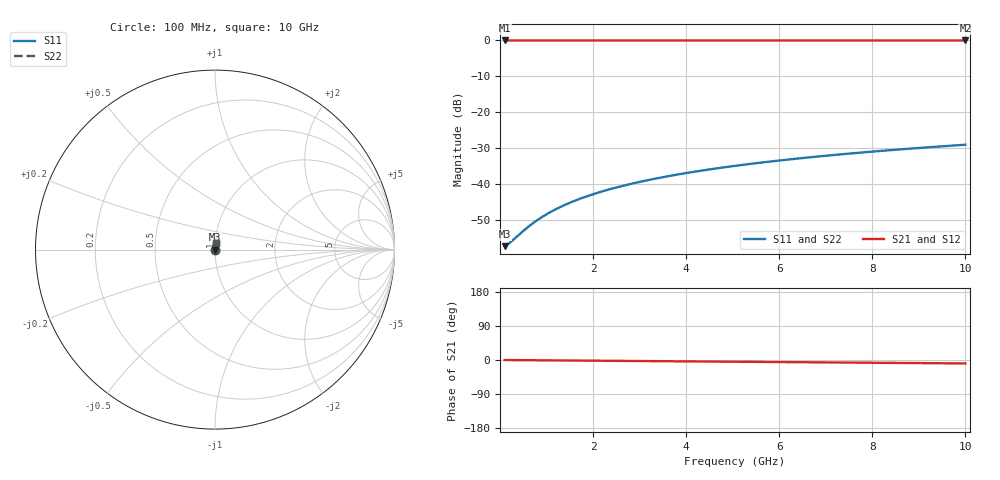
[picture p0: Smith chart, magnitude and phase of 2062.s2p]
# Hz S RI R 50.00
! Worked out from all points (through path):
!   100 points, 100 MHz to 10 GHz, reference 50 ohm
!   highest |S21| = -0.01 dB at 100 MHz (marker M1); lowest = 0.0 dB at 10 GHz (marker M2)
!   group delay of S21, straight-line fit = 2.51 ps
!   lowest |S11| = -57.3 dB at 100 MHz (marker M3), VSWR 1.00, Z = 50.1 + j0.0354 ohm
!   |S11| at or under -10 dB: start of sweep to end of sweep
!   |S22| runs from -57.3 to -29.0 dB; largest |S21 - S12| = 0
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1e8  0.00132 0.000353  0.9987 -0.00157  0.9987 -0.00157  0.00132 0.000353
2e8  0.00133 0.000706  0.9987 -0.00315  0.9987 -0.00315  0.00133 0.000706
6e8  0.00137 0.00212  0.9986 -0.00944  0.9986 -0.00944  0.00137 0.00212
7e8  0.00138 0.00247  0.9986 -0.011  0.9986 -0.011  0.00138 0.00247
9e8  0.0014 0.00317  0.9985 -0.0142  0.9985 -0.0142  0.0014 0.00317
1.1e9  0.00143 0.00388  0.9985 -0.0173  0.9985 -0.0173  0.00143 0.00388
1.3e9  0.00146 0.00458  0.9984 -0.0205  0.9984 -0.0205  0.00146 0.00458
1.5e9  0.00149 0.00529  0.9983 -0.0236  0.9983 -0.0236  0.00149 0.00529
1.8e9  0.00155 0.00634  0.9982 -0.0283  0.9982 -0.0283  0.00155 0.00634
2.1e9  0.00162 0.0074  0.998 -0.033  0.998 -0.033  0.00162 0.0074
2.5e9  0.00173 0.00881  0.9978 -0.0393  0.9978 -0.0393  0.00173 0.00881
2.9e9  0.00186 0.0102  0.9975 -0.0456  0.9975 -0.0456  0.00186 0.0102
3.4e9  0.00204 0.012  0.9971 -0.0535  0.9971 -0.0535  0.00204 0.012
3.8e9  0.0022 0.0134  0.9967 -0.0598  0.9967 -0.0598  0.0022 0.0134
4.2e9  0.00238 0.0148  0.9963 -0.0661  0.9963 -0.0661  0.00238 0.0148
4.6e9  0.00258 0.0162  0.9958 -0.0723  0.9958 -0.0723  0.00258 0.0162
5.1e9  0.00286 0.0179  0.9951 -0.0802  0.9951 -0.0802  0.00286 0.0179
5.9e9  0.00335 0.0207  0.994 -0.0927  0.994 -0.0927  0.00335 0.0207
6.7e9  0.00392 0.0234  0.9926 -0.1053  0.9926 -0.1053  0.00392 0.0234
7.5e9  0.00455 0.0262  0.9912 -0.1178  0.9912 -0.1178  0.00455 0.0262
8.4e9  0.00535 0.0293  0.9893 -0.1319  0.9893 -0.1319  0.00535 0.0293
1e10  0.00698 0.0346  0.9854 -0.1568  0.9854 -0.1568  0.00698 0.0346
